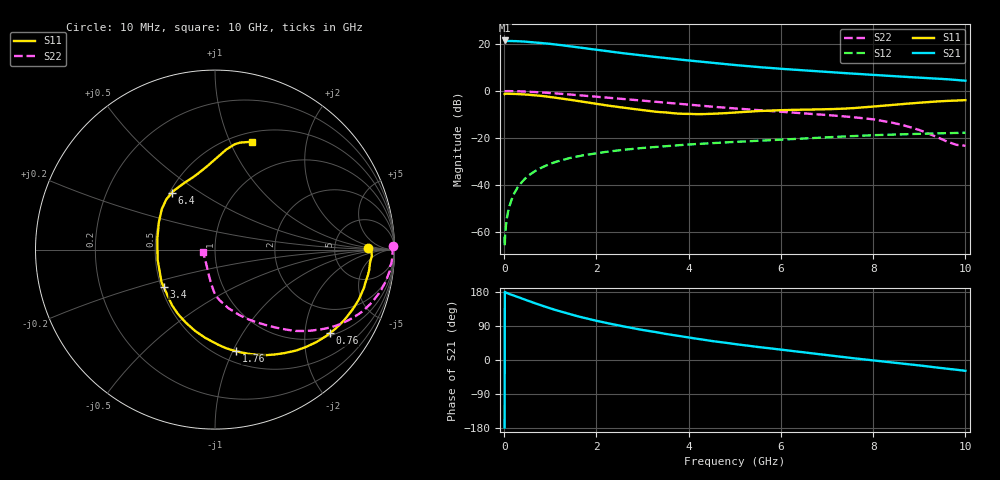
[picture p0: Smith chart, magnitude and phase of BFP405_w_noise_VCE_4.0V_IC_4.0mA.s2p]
! Infineon Technologies  Discrete & RF Semiconductors
! BFP405
! VCE =  4.0 V,  IC =  4.0 mA
! Common Emitter S-Parameters:  Jan 2016
# GHz  S  MA  R  50
!  f  S11  S21  S12  S22
! GHz  MAG  ANG  MAG  ANG  MAG  ANG  MAG  ANG
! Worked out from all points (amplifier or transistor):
!   233 points, 10 MHz to 10 GHz, reference 50 ohm
!   highest |S21| = 21.5 dB at 10 MHz (marker M1)
!   |S21| within 3 dB of that: start of sweep to 1.632 GHz
!   unconditionally stable (mu >= 1): 12.36 MHz to 18.74 MHz; 3.697 GHz to end of sweep
!   at 200 MHz: K = 0.16, MSG = 32.7 dB, |S12| = -44.3 dB
!   at 1.74 GHz: K = 0.48, MSG = 22.7 dB, |S12| = -27.3 dB
!   at 10 GHz: K = 1.48, MAG = 7.0 dB, |S12| = -17.8 dB
!   lowest NFmin = 1.10 dB at 900 MHz
!   S11 on the Smith chart (normalised r, x): 10 MHz: 13, +1; 760 MHz: 1.08, -2.68; 1.76 GHz: 0.61, -1.03; 3.4 GHz: 0.52, -0.24; 6.4 GHz: 0.51, +0.39; 10 GHz: 0.60, +1.21
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0.01  0.8552 0.7  11.82 -178.1  0.0008 -55.2  0.9899 1.1
0.015  0.8632 0.0  11.72 180.0  0.0005 -2.0  0.9878 0.6
0.02  0.8713 -0.6  11.64 178.0  0.0008 51.3  0.9858 0.1
0.085  0.869 -3.9  11.53 175.5  0.0027 77.0  0.9897 -1.7
0.22  0.8612 -10.6  11.44 169.6  0.0067 80.4  0.9831 -4.9
0.5  0.8344 -24.0  11.11 157.2  0.0149 76.6  0.9654 -11.0
0.76  0.7911 -36.1  10.58 146.0  0.0221 71.4  0.9366 -16.3
1  0.7432 -46.8  10.01 136.2  0.0281 66.9  0.9045 -20.9
1.18  0.7029 -54.5  9.549 129.5  0.0323 63.5  0.8772 -24.2
1.4  0.6544 -63.9  8.965 121.8  0.0369 60.0  0.8433 -27.7
1.68  0.5942 -75.1  8.246 112.7  0.0421 55.9  0.7998 -31.8
1.76  0.5775 -78.4  8.041 110.3  0.0435 54.7  0.7879 -32.9
2.1  0.5124 -91.8  7.259 100.9  0.0489 50.6  0.7384 -37.0
2.48  0.4539 -106.9  6.51 91.2  0.0543 46.6  0.6869 -41.2
2.96  0.3954 -126.1  5.726 80.2  0.0607 42.2  0.6261 -46.1
3.4  0.3532 -144.2  5.126 71.2  0.0658 38.5  0.5731 -50.2
4  0.3245 -170.3  4.442 59.1  0.0725 33.9  0.5083 -55.9
5.1  0.352 151.6  3.482 40.5  0.0833 26.4  0.417 -66.1
6.4  0.3973 127.3  2.78 21.6  0.0964 19.0  0.3397 -76.3
6.8  0.4034 119.4  2.612 15.8  0.1009 16.4  0.3176 -79.5
8.4  0.5027 90.0  2.07 -6.4  0.1176 4.5  0.2125 -93.8
10  0.6358 71.0  1.648 -28.5  0.129 -6.8  0.0681 -168.9
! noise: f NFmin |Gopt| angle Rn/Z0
0.9  1.1  0.42  13  0.34
1.8  1.39  0.33  21  0.32
2.4  1.55  0.28  31  0.32
3  1.58  0.26  47  0.29
4  1.76  0.14  70  0.25
5  2.11  0.09  124  0.22
